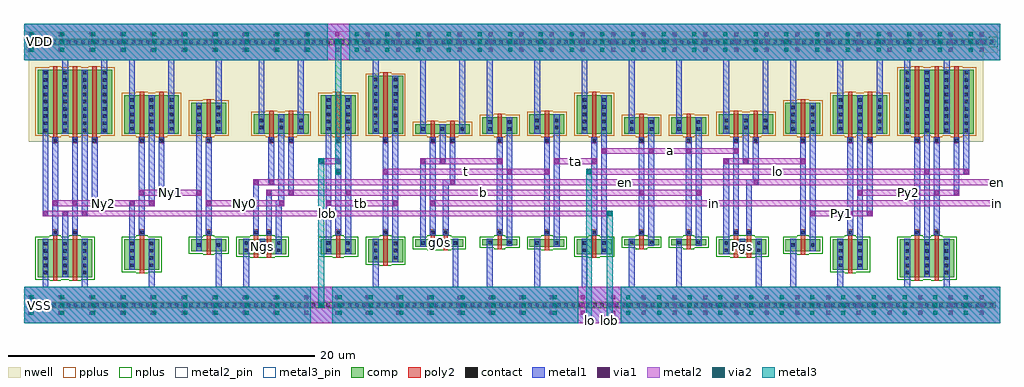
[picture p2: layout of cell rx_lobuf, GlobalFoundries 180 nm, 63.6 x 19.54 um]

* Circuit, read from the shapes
.subckt rx_lobuf Ngs Ny0 Ny1 Ny2 Pgs Py0 Py1 Py2 VDD VSS a b en g0s in lo lob t ta tb x
XM1 lob Ny2 VSS VSS nfet_03v3 w=2.5u l=0.28u m=2
XM2 VSS Ny1 Ny2 VSS nfet_03v3 w=2u l=0.28u
XM3 VSS Ny0 Ny1 VSS nfet_03v3 w=0.8u l=0.28u
XM4 Ngs en VSS VSS nfet_03v3 w=1u l=0.28u
XM5 Ny0 b Ngs VSS nfet_03v3 w=1u l=0.28u
XM6 b VDD tb VSS nfet_03v3 w=1u l=0.28u
XM7 tb t VSS VSS nfet_03v3 w=1.5u l=0.28u
XM8 g0s in x VSS nfet_03v3 w=0.5u l=0.28u
XM9 VSS en g0s VSS nfet_03v3 w=0.5u l=0.28u
XM10 t x VSS VSS nfet_03v3 w=0.42u l=0.28u
XM11 ta t VSS VSS nfet_03v3 w=0.5u l=0.28u
XM12 a ta VSS VSS nfet_03v3 w=1u l=0.28u
XM13 a b VSS VSS nfet_03v3 w=0.42u l=0.28u
XM14 b a VSS VSS nfet_03v3 w=0.42u l=0.28u
XM15 Pgs a Py0 VSS nfet_03v3 w=1u l=0.28u
XM16 VSS en Pgs VSS nfet_03v3 w=1u l=0.28u
XM17 Py1 Py0 VSS VSS nfet_03v3 w=0.8u l=0.28u
XM18 Py2 Py1 VSS VSS nfet_03v3 w=2u l=0.28u
XM19 lo Py2 VSS VSS nfet_03v3 w=2.5u l=0.28u m=2
XM20 VDD Ny2 lob VDD pfet_03v3 w=4.165u l=0.28u m=3
XM21 Ny2 Ny1 VDD VDD pfet_03v3 w=2.5u l=0.28u m=2
XM22 VDD Ny0 Ny1 VDD pfet_03v3 w=2u l=0.28u
XM23 Ny0 en VDD VDD pfet_03v3 w=1.25u l=0.28u
XM24 VDD b Ny0 VDD pfet_03v3 w=1.25u l=0.28u
XM25 b VSS tb VDD pfet_03v3 w=2.5u l=0.28u
XM26 tb t VDD VDD pfet_03v3 w=3.75u l=0.28u
XM27 x in VDD VDD pfet_03v3 w=0.6u l=0.28u
XM28 VDD en x VDD pfet_03v3 w=0.6u l=0.28u
XM29 t x VDD VDD pfet_03v3 w=1.05u l=0.28u
XM30 ta t VDD VDD pfet_03v3 w=1.25u l=0.28u
XM31 a ta VDD VDD pfet_03v3 w=2.5u l=0.28u
XM32 a b VDD VDD pfet_03v3 w=1.05u l=0.28u
XM33 b a VDD VDD pfet_03v3 w=1.05u l=0.28u
XM34 Py0 a VDD VDD pfet_03v3 w=1.25u l=0.28u
XM35 VDD en Py0 VDD pfet_03v3 w=1.25u l=0.28u
XM36 Py1 Py0 VDD VDD pfet_03v3 w=2u l=0.28u
XM37 Py2 Py1 VDD VDD pfet_03v3 w=2.5u l=0.28u m=2
XM38 lo Py2 VDD VDD pfet_03v3 w=4.165u l=0.28u m=3
.ends

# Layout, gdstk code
import gdstk
lib = gdstk.Library(unit=1e-6, precision=1e-09)
def R(c, l, rs):  # rectangles x0, y0, x1, y1
    for r in rs: c.add(gdstk.rectangle(r[:2], r[2:], *l))
def A(c, l, x, y, w, h, nx, ny, dx, dy):  # array of equal rectangles
    R(c, l, [(x+i*dx, y+j*dy, x+i*dx+w, y+j*dy+h) for i in range(nx) for j in range(ny)])
nwell = (21, 0)
comp = (22, 0)
poly2 = (30, 0)
pplus = (31, 0)
nplus = (32, 0)
contact = (33, 0)
metal1 = (34, 0)
via1 = (35, 0)
metal2 = (36, 0)
metal2_pin = (36, 10)
via2 = (38, 0)
metal3 = (42, 0)
metal3_pin = (42, 10)

rx_lobuf = lib.new_cell('rx_lobuf')
R(rx_lobuf, nwell, [(0.3,9.445,62.5,15.24), (0.15,15.24,63.45,16.64)])
R(rx_lobuf, comp, [(0.3,-1.39,63.3,-1.01), (0.9,0.6,4.46,3.1), (57.06,0.6,60.62,3.1), (6.54,1.1,8.82,3.1), (52.7,1.1,54.98,3.1), (22.42,1.6,24.7,3.1), (13.98,2.1,17.1,3.1), (19.34,2.1,21.62,3.1), (36.02,2.1,38.3,3.1), (45.26,2.1,48.38,3.1), (10.9,2.3,13.18,3.1), (49.62,2.3,51.9,3.1), (25.5,2.6,28.62,3.1), (32.94,2.6,35.22,3.1), (29.86,2.68,32.14,3.1), (39.1,2.68,41.38,3.1), (42.18,2.68,44.46,3.1), (0.9,9.975,5.74,14.14), (6.54,9.975,10.1,12.475), (10.9,9.975,13.18,11.975), (14.98,9.975,18.54,11.225), (19.34,9.975,21.62,12.475), (22.42,9.975,24.7,13.725), (25.5,9.975,29.06,10.575), (29.86,9.975,32.14,11.025), (32.94,9.975,35.22,11.225), (36.02,9.975,38.3,12.475), (39.1,9.975,41.38,11.025), (42.18,9.975,44.46,11.025), (45.26,9.975,48.82,11.225), (49.62,9.975,51.9,11.975), (52.7,9.975,56.26,12.475), (57.06,9.975,61.9,14.14), (0.3,15.75,63.3,16.13)])
A(rx_lobuf, poly2, 3.135, 3.36, 0.37, 0.37, 3, 1, 4.36, 0)
A(rx_lobuf, poly2, 20.295, 3.36, 0.37, 0.37, 3, 1, 3.08, 0)
A(rx_lobuf, poly2, 30.815, 3.36, 0.37, 0.37, 6, 1, 3.08, 0)
A(rx_lobuf, poly2, 1.855, 9.345, 0.37, 0.37, 3, 1, 1.28, 0)
A(rx_lobuf, poly2, 17.215, 9.345, 0.37, 0.37, 4, 1, 3.08, 0)
A(rx_lobuf, poly2, 27.735, 9.345, 0.37, 0.37, 7, 1, 3.08, 0)
A(rx_lobuf, poly2, 47.495, 9.345, 0.37, 0.37, 3, 1, 3.08, 0)
A(rx_lobuf, poly2, 58.015, 9.345, 0.37, 0.37, 3, 1, 1.28, 0)
A(rx_lobuf, poly2, 1.9, 9.715, 0.28, 4.655, 3, 1, 1.28, 0)
A(rx_lobuf, poly2, 20.34, 9.715, 0.28, 2.99, 3, 1, 16.68, 0)
A(rx_lobuf, poly2, 58.06, 9.715, 0.28, 4.655, 3, 1, 1.28, 0)
R(rx_lobuf, poly2, [(1.9,0.37,2.18,3.36), (3.18,0.37,3.46,3.36), (58.06,0.37,58.34,3.36), (59.34,0.37,59.62,3.36), (7.54,0.87,7.82,3.36), (53.7,0.87,53.98,3.36), (23.42,1.37,23.7,3.36), (14.98,1.87,15.26,3.36), (15.82,1.87,16.1,3.36), (20.34,1.87,20.62,3.36), (37.02,1.87,37.3,3.36), (46.26,1.87,46.54,3.36), (47.1,1.87,47.38,3.36), (11.9,2.07,12.18,3.36), (50.62,2.07,50.9,3.36), (26.5,2.37,26.78,3.36), (27.34,2.37,27.62,3.36), (33.94,2.37,34.22,3.36), (30.86,2.45,31.14,3.36), (40.1,2.45,40.38,3.36), (43.18,2.45,43.46,3.36), (1.855,3.36,2.225,3.73), (14.935,3.36,15.305,3.73), (15.775,3.36,16.145,3.73), (27.295,3.36,27.665,3.73), (47.055,3.36,47.425,3.73), (50.575,3.36,50.945,3.73), (53.655,3.36,54.025,3.73), (58.015,3.36,58.385,3.73), (59.295,3.36,59.665,3.73), (7.495,9.345,7.865,9.715), (8.775,9.345,9.145,9.715), (11.855,9.345,12.225,9.715), (15.935,9.345,16.305,9.715), (54.935,9.345,55.305,9.715), (7.54,9.715,7.82,12.705), (8.82,9.715,9.1,12.705), (11.9,9.715,12.18,12.205), (15.98,9.715,16.26,11.455), (17.26,9.715,17.54,11.455), (23.42,9.715,23.7,13.955), (26.5,9.715,26.78,10.805), (27.78,9.715,28.06,10.805), (30.86,9.715,31.14,11.255), (33.94,9.715,34.22,11.455), (40.1,9.715,40.38,11.255), (43.18,9.715,43.46,11.255), (46.26,9.715,46.54,11.455), (47.54,9.715,47.82,11.455), (50.62,9.715,50.9,12.205), (54.98,9.715,55.26,12.705)])
A(rx_lobuf, pplus, 1.67, 9.745, 0.74, 0.07, 3, 2, 1.28, 4.555)
A(rx_lobuf, pplus, 17.03, 9.745, 0.74, 0.07, 4, 1, 3.08, 0)
A(rx_lobuf, pplus, 27.55, 9.745, 0.74, 0.07, 7, 1, 3.08, 0)
A(rx_lobuf, pplus, 47.31, 9.745, 0.74, 0.07, 3, 1, 3.08, 0)
A(rx_lobuf, pplus, 57.83, 9.745, 0.74, 0.07, 3, 2, 1.28, 4.555)
A(rx_lobuf, pplus, 20.11, 12.635, 0.74, 0.07, 3, 1, 16.68, 0)
R(rx_lobuf, pplus, [(0.28,-1.41,63.32,-0.99), (7.31,9.745,8.05,9.815), (8.59,9.745,9.33,9.815), (11.67,9.745,12.41,9.815), (15.75,9.745,16.49,9.815), (54.75,9.745,55.49,9.815), (0.74,9.815,5.9,14.3), (6.38,9.815,10.26,12.635), (10.74,9.815,13.34,12.135), (14.82,9.815,18.7,11.385), (19.18,9.815,21.78,12.635), (22.26,9.815,24.86,13.885), (25.34,9.815,29.22,10.735), (29.7,9.815,32.3,11.185), (32.78,9.815,35.38,11.385), (35.86,9.815,38.46,12.635), (38.94,9.815,41.54,11.185), (42.02,9.815,44.62,11.185), (45.1,9.815,48.98,11.385), (49.46,9.815,52.06,12.135), (52.54,9.815,56.42,12.635), (56.9,9.815,62.06,14.3), (26.27,10.735,27.01,10.805), (27.55,10.735,28.29,10.805), (30.63,11.185,31.37,11.255), (39.87,11.185,40.61,11.255), (42.95,11.185,43.69,11.255), (15.75,11.385,16.49,11.455), (17.03,11.385,17.77,11.455), (33.71,11.385,34.45,11.455), (46.03,11.385,46.77,11.455), (47.31,11.385,48.05,11.455), (11.67,12.135,12.41,12.205), (50.39,12.135,51.13,12.205), (7.31,12.635,8.05,12.705), (8.59,12.635,9.33,12.705), (54.75,12.635,55.49,12.705), (23.19,13.885,23.93,13.955)])
A(rx_lobuf, nplus, 2.95, 3.26, 0.74, 0.07, 3, 1, 4.36, 0)
A(rx_lobuf, nplus, 30.63, 3.26, 0.74, 0.07, 5, 1, 3.08, 0)
R(rx_lobuf, nplus, [(1.67,0.37,2.41,0.44), (2.95,0.37,3.69,0.44), (57.83,0.37,58.57,0.44), (59.11,0.37,59.85,0.44), (0.74,0.44,4.62,3.26), (56.9,0.44,60.78,3.26), (7.31,0.87,8.05,0.94), (53.47,0.87,54.21,0.94), (6.38,0.94,8.98,3.26), (52.54,0.94,55.14,3.26), (23.19,1.37,23.93,1.44), (22.26,1.44,24.86,3.26), (14.75,1.87,16.33,1.94), (20.11,1.87,20.85,1.94), (36.79,1.87,37.53,1.94), (46.03,1.87,47.61,1.94), (13.82,1.94,17.26,3.26), (19.18,1.94,21.78,3.26), (35.86,1.94,38.46,3.26), (45.1,1.94,48.54,3.26), (11.67,2.07,12.41,2.14), (50.39,2.07,51.13,2.14), (10.74,2.14,13.34,3.26), (49.46,2.14,52.06,3.26), (26.27,2.37,27.85,2.44), (33.71,2.37,34.45,2.44), (25.34,2.44,28.78,3.26), (32.78,2.44,35.38,3.26), (30.63,2.45,31.37,2.52), (39.87,2.45,40.61,2.52), (42.95,2.45,43.69,2.52), (29.7,2.52,32.3,3.26), (38.94,2.52,41.54,3.26), (42.02,2.52,44.62,3.26), (1.67,3.26,2.41,3.33), (14.75,3.26,16.33,3.33), (20.11,3.26,20.85,3.33), (23.19,3.26,23.93,3.33), (26.27,3.26,27.85,3.33), (46.03,3.26,47.61,3.33), (50.39,3.26,51.13,3.33), (53.47,3.26,54.21,3.33), (57.83,3.26,58.57,3.33), (59.11,3.26,59.85,3.33), (0.14,15.59,0.74,15.73), (62.86,15.59,63.46,15.73), (0.14,15.73,63.46,16.15), (0.14,16.15,0.74,16.29), (62.86,16.15,63.46,16.29)])
A(rx_lobuf, contact, 0.435, -1.31, 0.22, 0.22, 134, 2, 0.47, 17.14)
A(rx_lobuf, contact, 1.29, 0.8, 0.22, 0.22, 3, 5, 1.28, 0.47)
A(rx_lobuf, contact, 57.45, 0.8, 0.22, 0.22, 3, 5, 1.28, 0.47)
A(rx_lobuf, contact, 6.93, 1.285, 0.22, 0.22, 1, 4, 0, 0.47)
A(rx_lobuf, contact, 8.21, 1.285, 0.22, 0.22, 1, 4, 0, 0.47)
A(rx_lobuf, contact, 53.09, 1.285, 0.22, 0.22, 1, 4, 0, 0.47)
A(rx_lobuf, contact, 54.37, 1.285, 0.22, 0.22, 1, 4, 0, 0.47)
A(rx_lobuf, contact, 22.81, 1.77, 0.22, 0.22, 1, 3, 0, 0.47)
A(rx_lobuf, contact, 24.09, 1.77, 0.22, 0.22, 1, 3, 0, 0.47)
A(rx_lobuf, contact, 14.37, 2.255, 0.22, 0.22, 3, 2, 1.06, 0.47)
A(rx_lobuf, contact, 45.65, 2.255, 0.22, 0.22, 3, 2, 1.06, 0.47)
A(rx_lobuf, contact, 25.89, 2.74, 0.22, 0.22, 3, 1, 1.06, 0)
A(rx_lobuf, contact, 3.21, 3.435, 0.22, 0.22, 3, 1, 4.36, 0)
A(rx_lobuf, contact, 20.37, 3.435, 0.22, 0.22, 3, 1, 3.08, 0)
A(rx_lobuf, contact, 30.89, 3.435, 0.22, 0.22, 6, 1, 3.08, 0)
A(rx_lobuf, contact, 1.93, 9.42, 0.22, 0.22, 3, 1, 1.28, 0)
A(rx_lobuf, contact, 17.29, 9.42, 0.22, 0.22, 4, 1, 3.08, 0)
A(rx_lobuf, contact, 27.81, 9.42, 0.22, 0.22, 7, 1, 3.08, 0)
A(rx_lobuf, contact, 47.57, 9.42, 0.22, 0.22, 3, 1, 3.08, 0)
A(rx_lobuf, contact, 58.09, 9.42, 0.22, 0.22, 3, 1, 1.28, 0)
A(rx_lobuf, contact, 1.29, 10.065, 0.22, 0.22, 4, 9, 1.28, 0.47)
A(rx_lobuf, contact, 57.45, 10.065, 0.22, 0.22, 4, 9, 1.28, 0.47)
A(rx_lobuf, contact, 22.81, 10.095, 0.22, 0.22, 1, 8, 0, 0.47)
A(rx_lobuf, contact, 24.09, 10.095, 0.22, 0.22, 1, 8, 0, 0.47)
A(rx_lobuf, contact, 11.29, 10.16, 0.22, 0.22, 1, 4, 0, 0.47)
A(rx_lobuf, contact, 12.57, 10.16, 0.22, 0.22, 1, 4, 0, 0.47)
A(rx_lobuf, contact, 50.01, 10.16, 0.22, 0.22, 1, 4, 0, 0.47)
A(rx_lobuf, contact, 51.29, 10.16, 0.22, 0.22, 1, 4, 0, 0.47)
A(rx_lobuf, contact, 25.89, 10.165, 0.22, 0.22, 3, 1, 1.28, 0)
A(rx_lobuf, contact, 6.93, 10.175, 0.22, 0.22, 3, 5, 1.28, 0.47)
A(rx_lobuf, contact, 19.73, 10.175, 0.22, 0.22, 1, 5, 0, 0.47)
A(rx_lobuf, contact, 21.01, 10.175, 0.22, 0.22, 1, 5, 0, 0.47)
A(rx_lobuf, contact, 36.41, 10.175, 0.22, 0.22, 1, 5, 0, 0.47)
A(rx_lobuf, contact, 37.69, 10.175, 0.22, 0.22, 1, 5, 0, 0.47)
A(rx_lobuf, contact, 53.09, 10.175, 0.22, 0.22, 3, 5, 1.28, 0.47)
A(rx_lobuf, contact, 15.37, 10.255, 0.22, 0.22, 3, 2, 1.28, 0.47)
A(rx_lobuf, contact, 45.65, 10.255, 0.22, 0.22, 3, 2, 1.28, 0.47)
R(rx_lobuf, contact, [(19.73,2.255,19.95,2.475), (21.01,2.255,21.23,2.475), (36.41,2.255,36.63,2.475), (37.69,2.255,37.91,2.475), (11.29,2.59,11.51,2.81), (12.57,2.59,12.79,2.81), (50.01,2.59,50.23,2.81), (51.29,2.59,51.51,2.81), (19.73,2.725,19.95,2.945), (21.01,2.725,21.23,2.945), (36.41,2.725,36.63,2.945), (37.69,2.725,37.91,2.945), (33.33,2.74,33.55,2.96), (34.61,2.74,34.83,2.96), (30.25,2.78,30.47,3), (31.53,2.78,31.75,3), (39.49,2.78,39.71,3), (40.77,2.78,40.99,3), (42.57,2.78,42.79,3), (43.85,2.78,44.07,3), (1.93,3.435,2.15,3.655), (15.01,3.435,15.23,3.655), (15.85,3.435,16.07,3.655), (27.37,3.435,27.59,3.655), (47.13,3.435,47.35,3.655), (50.65,3.435,50.87,3.655), (53.73,3.435,53.95,3.655), (58.09,3.435,58.31,3.655), (59.37,3.435,59.59,3.655), (7.57,9.42,7.79,9.64), (8.85,9.42,9.07,9.64), (11.93,9.42,12.15,9.64), (16.01,9.42,16.23,9.64), (55.01,9.42,55.23,9.64), (30.25,10.155,30.47,10.375), (31.53,10.155,31.75,10.375), (39.49,10.155,39.71,10.375), (40.77,10.155,40.99,10.375), (42.57,10.155,42.79,10.375), (43.85,10.155,44.07,10.375), (33.33,10.255,33.55,10.475), (34.61,10.255,34.83,10.475), (30.25,10.625,30.47,10.845), (31.53,10.625,31.75,10.845), (39.49,10.625,39.71,10.845), (40.77,10.625,40.99,10.845), (42.57,10.625,42.79,10.845), (43.85,10.625,44.07,10.845), (33.33,10.725,33.55,10.945), (34.61,10.725,34.83,10.945)])
A(rx_lobuf, metal1, 3.77, 0, 0.38, 3.105, 3, 1, 4.36, 0)
A(rx_lobuf, metal1, 30.17, 0, 0.38, 3.105, 5, 1, 3.08, 0)
A(rx_lobuf, metal1, 3.13, 3.355, 0.38, 6.365, 3, 1, 4.36, 0)
A(rx_lobuf, metal1, 30.81, 3.355, 0.38, 6.365, 6, 1, 3.08, 0)
A(rx_lobuf, metal1, 30.17, 9.97, 0.38, 4.77, 6, 1, 3.08, 0)
R(rx_lobuf, metal1, [(0,-2.4,63.6,0), (1.21,0,1.59,3.105), (14.29,0,14.67,3.105), (22.73,0,23.11,3.105), (27.93,0,28.31,3.105), (47.69,0,48.07,3.105), (49.93,0,50.31,3.105), (53.01,0,53.39,3.105), (57.37,0,57.75,3.105), (59.93,0,60.31,3.105), (2.49,0.595,2.87,4.95), (58.65,0.595,59.03,14.145), (6.85,1.095,7.23,5.63), (54.29,1.095,54.67,12.48), (24.01,1.595,24.39,13.73), (15.35,2.095,15.73,3.105), (16.41,2.095,16.79,5.25), (19.65,2.095,20.03,12.48), (20.93,2.095,21.31,12.48), (37.61,2.095,37.99,12.48), (45.57,2.095,45.95,8.35), (46.63,2.095,47.01,3.105), (11.21,2.295,11.59,11.98), (51.21,2.295,51.59,11.98), (25.81,2.595,26.19,8.35), (26.87,2.595,27.25,3.105), (34.53,2.595,34.91,11.23), (31.45,2.675,31.83,11.03), (40.69,2.675,41.07,11.03), (43.77,2.675,44.15,11.03), (1.85,3.355,2.23,9.72), (14.93,3.355,15.31,6.99), (15.77,3.355,16.15,6.31), (20.29,3.355,20.67,7.67), (23.37,3.355,23.75,9.72), (26.45,3.355,26.83,9.72), (27.29,3.355,27.67,6.61), (47.05,3.355,47.43,6.61), (50.57,3.355,50.95,9.72), (53.65,3.355,54.03,9.72), (58.01,3.355,58.39,9.72), (59.29,3.355,59.67,9.72), (1.21,4.57,1.59,14.145), (3.77,4.57,4.15,14.145), (54.93,4.57,55.31,9.72), (4.41,5.25,4.79,9.72), (8.13,5.25,8.51,12.48), (16.41,5.25,16.95,5.63), (16.57,5.63,16.95,11.23), (8.77,5.93,9.15,9.72), (17.21,5.93,17.59,9.72), (60.57,5.93,60.95,9.72), (15.93,6.61,16.31,9.72), (27.29,6.61,28.11,6.99), (47.05,6.61,47.87,6.99), (27.73,6.99,28.11,9.72), (47.49,6.99,47.87,9.72), (61.21,7.29,61.59,14.145), (20.29,7.97,20.67,9.72), (27.09,7.97,27.47,10.58), (46.85,7.97,47.23,11.23), (2.49,9.97,2.87,14.74), (5.05,9.97,5.43,14.74), (6.85,9.97,7.23,14.74), (9.41,9.97,9.79,14.74), (12.49,9.97,12.87,14.74), (15.29,9.97,15.67,14.74), (17.85,9.97,18.23,14.74), (22.73,9.97,23.11,14.74), (25.81,9.97,26.19,14.74), (28.37,9.97,28.75,14.74), (48.13,9.97,48.51,14.74), (49.93,9.97,50.31,14.74), (53.01,9.97,53.39,14.74), (55.57,9.97,55.95,14.74), (57.37,9.97,57.75,14.74), (59.93,9.97,60.31,14.74), (0,14.74,63.6,17.14)])
A(rx_lobuf, via1, 0.27, -1.85, 0.26, 0.26, 32, 3, 2, 0.52)
A(rx_lobuf, via1, 1.27, 4.63, 0.26, 0.26, 3, 1, 1.28, 0)
A(rx_lobuf, via1, 1.91, 5.31, 0.26, 0.26, 3, 1, 1.28, 0)
A(rx_lobuf, via1, 58.07, 5.99, 0.26, 0.26, 3, 1, 1.28, 0)
A(rx_lobuf, via1, 27.15, 8.03, 0.26, 0.26, 3, 1, 3.72, 0)
A(rx_lobuf, via1, 0.27, 15.29, 0.26, 0.26, 32, 3, 2, 0.52)
R(rx_lobuf, via1, [(51.27,4.63,51.53,4.89), (53.71,4.63,53.97,4.89), (54.99,4.63,55.25,4.89), (6.91,5.31,7.17,5.57), (8.19,5.31,8.45,5.57), (11.91,5.31,12.17,5.57), (16.63,5.31,16.89,5.57), (19.71,5.31,19.97,5.57), (24.07,5.31,24.33,5.57), (26.51,5.31,26.77,5.57), (7.55,5.99,7.81,6.25), (8.83,5.99,9.09,6.25), (11.27,5.99,11.53,6.25), (15.83,5.99,16.09,6.25), (17.27,5.99,17.53,6.25), (20.99,5.99,21.25,6.25), (40.11,5.99,40.37,6.25), (43.83,5.99,44.09,6.25), (54.35,5.99,54.61,6.25), (14.99,6.67,15.25,6.93), (15.99,6.67,16.25,6.93), (27.79,6.67,28.05,6.93), (47.55,6.67,47.81,6.93), (20.35,7.35,20.61,7.61), (23.43,7.35,23.69,7.61), (31.51,7.35,31.77,7.61), (33.95,7.35,34.21,7.61), (58.71,7.35,58.97,7.61), (61.27,7.35,61.53,7.61), (20.35,8.03,20.61,8.29), (25.87,8.03,26.13,8.29), (37.03,8.03,37.29,8.29), (45.63,8.03,45.89,8.29), (46.91,8.03,47.17,8.29), (50.63,8.03,50.89,8.29), (37.67,8.71,37.93,8.97), (40.75,8.71,41.01,8.97), (43.19,8.71,43.45,8.97), (46.27,8.71,46.53,8.97)])
R(rx_lobuf, metal2, [(0,-2.4,63.6,0), (1.21,4.57,38.37,4.95), (51.21,4.57,55.31,4.95), (1.85,5.25,8.51,5.63), (11.85,5.25,16.95,5.63), (19.65,5.25,24.39,5.63), (26.45,5.25,63.6,5.63), (7.49,5.93,11.59,6.31), (15.77,5.93,44.15,6.31), (54.29,5.93,60.95,6.31), (14.93,6.61,63.6,6.99), (20.29,7.29,20.675,7.67), (23.37,7.29,34.27,7.67), (36.63,7.29,61.59,7.67), (19.19,7.97,20.67,8.35), (25.81,7.97,31.19,8.35), (34.53,7.97,37.35,8.35), (45.57,7.97,50.95,8.35), (37.61,8.65,46.59,9.03), (0,14.74,63.6,17.14)])
R(rx_lobuf, metal2_pin, [(0.95,-1.25,1.05,-1.15), (63.4,5.39,63.5,5.49), (63.4,6.75,63.5,6.85), (0.95,15.89,1.05,15.99)])
A(rx_lobuf, via2, 0.37, -1.85, 0.26, 0.26, 9, 3, 2, 0.52)
A(rx_lobuf, via2, 20.45, -1.85, 0.26, 0.26, 8, 3, 2, 0.52)
A(rx_lobuf, via2, 39.25, -1.85, 0.26, 0.26, 12, 3, 2, 0.52)
A(rx_lobuf, via2, 0.37, 15.29, 0.26, 0.26, 10, 3, 2, 0.52)
A(rx_lobuf, via2, 21.555, 15.29, 0.26, 0.26, 21, 3, 2, 0.52)
R(rx_lobuf, via2, [(19.25,-1.33,19.51,-1.07), (38.05,4.63,38.31,4.89), (20.355,7.35,20.615,7.61), (36.69,7.35,36.95,7.61), (19.25,8.03,19.51,8.29), (20.355,15.81,20.615,16.07)])
R(rx_lobuf, metal3, [(0,-2.4,18.68,0), (20.08,-2.4,36.12,0), (36.63,-2.4,37.01,7.67), (37.99,-2.4,38.37,4.95), (38.88,-2.4,63.6,0), (19.19,-1.39,19.57,8.35), (20.295,7.29,20.675,16.13), (0,14.74,19.785,17.14), (21.185,14.74,63.6,17.14)])
R(rx_lobuf, metal3_pin, [(36.77,-2.25,36.87,-2.15), (38.13,-2.25,38.23,-2.15)])
rx_lobuf.add(gdstk.Label('Ngs', (15.54,2.6), layer=34, texttype=0))
rx_lobuf.add(gdstk.Label('g0s', (27.06,2.85), layer=34, texttype=0))
rx_lobuf.add(gdstk.Label('Pgs', (46.82,2.6), layer=34, texttype=0))
rx_lobuf.add(gdstk.Label('lob', (19.79,4.76), layer=36, texttype=0))
rx_lobuf.add(gdstk.Label('Ny2', (5.18,5.44), layer=36, texttype=0))
rx_lobuf.add(gdstk.Label('Ny1', (9.54,6.12), layer=36, texttype=0))
rx_lobuf.add(gdstk.Label('Ny0', (14.4,5.44), layer=36, texttype=0))
rx_lobuf.add(gdstk.Label('b', (29.96,6.12), layer=36, texttype=0))
rx_lobuf.add(gdstk.Label('en', (39.21,6.8), layer=36, texttype=0))
rx_lobuf.add(gdstk.Label('tb', (22.02,5.44), layer=36, texttype=0))
rx_lobuf.add(gdstk.Label('t', (28.82,7.48), layer=36, texttype=0))
rx_lobuf.add(gdstk.Label('x', (28.5,8.16), layer=36, texttype=0))
rx_lobuf.add(gdstk.Label('in', (44.97,5.44), layer=36, texttype=0))
rx_lobuf.add(gdstk.Label('ta', (35.94,8.16), layer=36, texttype=0))
rx_lobuf.add(gdstk.Label('lo', (49.11,7.48), layer=36, texttype=0))
rx_lobuf.add(gdstk.Label('a', (42.1,8.84), layer=36, texttype=0))
rx_lobuf.add(gdstk.Label('Py0', (48.26,8.16), layer=36, texttype=0))
rx_lobuf.add(gdstk.Label('Py1', (53.26,4.76), layer=36, texttype=0))
rx_lobuf.add(gdstk.Label('Py2', (57.62,6.12), layer=36, texttype=0))
rx_lobuf.add(gdstk.Label('in', (63.45,5.44), layer=36, texttype=10))
rx_lobuf.add(gdstk.Label('en', (63.45,6.8), layer=36, texttype=10))
rx_lobuf.add(gdstk.Label('VSS', (1,-1.2), layer=36, texttype=10))
rx_lobuf.add(gdstk.Label('VDD', (1,15.94), layer=36, texttype=10))
rx_lobuf.add(gdstk.Label('lo', (36.82,-2.2), layer=42, texttype=10))
rx_lobuf.add(gdstk.Label('lob', (38.18,-2.2), layer=42, texttype=10))

lib.write_gds('rx_lobuf.gds')
